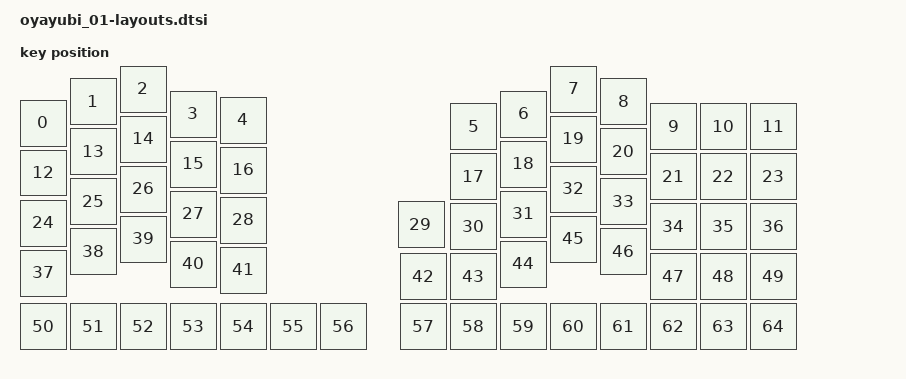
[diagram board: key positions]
// ZMK Studio / DYA Studio 用物理レイアウト定義
//
// 座標換算の根拠:
//   単位: centi-keyunit (ZMK標準)。100 = 1キーユニット = キー1個分の大きさ。
//   ★ mm をそのまま 100 倍してはいけない。キーピッチが 1 単位になるよう割る。
//   スケール: X は 18mm = 100 cku (PCB_X[mm] ÷ 18 × 100)
//             Y は 17mm = 100 cku (PCB_Y[mm] ÷ 17 × 100)
//     → Choc の 18×17mm ピッチがちょうど隙間なく敷き詰まる
//     → キーサイズは w=100 h=100 (正方形表示。実物は 18×17mm だが
//        Studio は配列エディタなので 6% の縦横比差は無視して問題ない)
//   x,y はキャップ左上角。列は 100 刻み、行は 100 刻み、
//   カラムスタガーは 17mm を 100 とした比率で表現される。
//
// 座標元データ: docs/左手_配置座標表.md / docs/右手_配置座標表.md (実測値)
//   左手 Col0-6 → x = 0,100,...,600
//   右手 Col0-7 → x = 761,861,...,1461 (エンコーダ SW39 のみ 756 = 1mm 左)
//
// 検証: 65キー、重なり 0、全体サイズ 15.6u × 5.75u
//
// 配列順: default_transform の map と同じ順 (行ごとに左→右)

#include <physical_layouts.dtsi>

/ {
    default_layout: default_layout {
        compatible = "zmk,physical-layout";
        display-name = "oyayubi_01";
        transform = <&default_transform>;
        kscan = <&kscan>;

        keys  //                     w     h      x      y   rot   rx   ry
            // ── Row0: 左 Col0-4 + 右 Col1-7 (12 keys) ──────────────────────
            // 左
            = <&key_physical_attrs  100  100     0    68     0    0    0>  // L R0C0  SW1  !
            , <&key_physical_attrs  100  100   100    25     0    0    0>  // L R0C1  SW6  @
            , <&key_physical_attrs  100  100   200     0     0    0    0>  // L R0C2  SW11 #  ← 最上キー
            , <&key_physical_attrs  100  100   300    50     0    0    0>  // L R0C3  SW16 $
            , <&key_physical_attrs  100  100   400    62     0    0    0>  // L R0C4  SW21 %
            // 右 (Col1-7, Col0 は Row0 に存在しない)
            , <&key_physical_attrs  100  100   861    75     0    0    0>  // R R0C1  SW3
            , <&key_physical_attrs  100  100   961    50     0    0    0>  // R R0C2  SW8
            , <&key_physical_attrs  100  100  1061     0     0    0    0>  // R R0C3  SW13 ← 最上キー
            , <&key_physical_attrs  100  100  1161    25     0    0    0>  // R R0C4  SW18
            , <&key_physical_attrs  100  100  1261    75     0    0    0>  // R R0C5  SW23
            , <&key_physical_attrs  100  100  1361    75     0    0    0>  // R R0C6  SW28
            , <&key_physical_attrs  100  100  1461    75     0    0    0>  // R R0C7  SW33

            // ── Row1: 左 Col0-4 + 右 Col1-7 (12 keys) ──────────────────────
            // 左
            , <&key_physical_attrs  100  100     0   168     0    0    0>  // L R1C0  SW2  Q
            , <&key_physical_attrs  100  100   100   125     0    0    0>  // L R1C1  SW7  W
            , <&key_physical_attrs  100  100   200   100     0    0    0>  // L R1C2  SW12 E
            , <&key_physical_attrs  100  100   300   150     0    0    0>  // L R1C3  SW17 R
            , <&key_physical_attrs  100  100   400   162     0    0    0>  // L R1C4  SW22 T
            // 右
            , <&key_physical_attrs  100  100   861   175     0    0    0>  // R R1C1  SW4  Y
            , <&key_physical_attrs  100  100   961   150     0    0    0>  // R R1C2  SW9  U
            , <&key_physical_attrs  100  100  1061   100     0    0    0>  // R R1C3  SW14 I
            , <&key_physical_attrs  100  100  1161   125     0    0    0>  // R R1C4  SW19 O
            , <&key_physical_attrs  100  100  1261   175     0    0    0>  // R R1C5  SW24 P
            , <&key_physical_attrs  100  100  1361   175     0    0    0>  // R R1C6  SW29
            , <&key_physical_attrs  100  100  1461   175     0    0    0>  // R R1C7  SW34

            // ── Row2: 左 Col0-4 + 右 Col0-7 (13 keys) ──────────────────────
            // 左
            , <&key_physical_attrs  100  100     0   268     0    0    0>  // L R2C0  SW3  A
            , <&key_physical_attrs  100  100   100   225     0    0    0>  // L R2C1  SW8  S
            , <&key_physical_attrs  100  100   200   200     0    0    0>  // L R2C2  SW13 D
            , <&key_physical_attrs  100  100   300   250     0    0    0>  // L R2C3  SW18 F
            , <&key_physical_attrs  100  100   400   262     0    0    0>  // L R2C4  SW23 G
            // 右 Col0 = エンコーダプッシュ SW39 (PCB X=-1mm)
            , <&key_physical_attrs  100  100   756   271     0    0    0>  // R R2C0  SW39 ENC_PUSH
            , <&key_physical_attrs  100  100   861   275     0    0    0>  // R R2C1  SW5  H
            , <&key_physical_attrs  100  100   961   250     0    0    0>  // R R2C2  SW10 J
            , <&key_physical_attrs  100  100  1061   200     0    0    0>  // R R2C3  SW15 K
            , <&key_physical_attrs  100  100  1161   225     0    0    0>  // R R2C4  SW20 L
            , <&key_physical_attrs  100  100  1261   275     0    0    0>  // R R2C5  SW25 ;
            , <&key_physical_attrs  100  100  1361   275     0    0    0>  // R R2C6  SW30 '
            , <&key_physical_attrs  100  100  1461   275     0    0    0>  // R R2C7  SW35 \

            // ── Row3: 左 Col0-4 + 右 Col0-7 (13 keys) ──────────────────────
            // 左
            , <&key_physical_attrs  100  100     0   368     0    0    0>  // L R3C0  SW4  Z
            , <&key_physical_attrs  100  100   100   325     0    0    0>  // L R3C1  SW9  X
            , <&key_physical_attrs  100  100   200   300     0    0    0>  // L R3C2  SW14 C
            , <&key_physical_attrs  100  100   300   350     0    0    0>  // L R3C3  SW19 V
            , <&key_physical_attrs  100  100   400   362     0    0    0>  // L R3C4  SW24 B
            // 右
            , <&key_physical_attrs  100  100   761   375     0    0    0>  // R R3C0  SW1
            , <&key_physical_attrs  100  100   861   375     0    0    0>  // R R3C1  SW6  N
            , <&key_physical_attrs  100  100   961   350     0    0    0>  // R R3C2  SW11 M
            , <&key_physical_attrs  100  100  1061   300     0    0    0>  // R R3C3  SW16 ,
            , <&key_physical_attrs  100  100  1161   325     0    0    0>  // R R3C4  SW21 .
            , <&key_physical_attrs  100  100  1261   375     0    0    0>  // R R3C5  SW26 /
            , <&key_physical_attrs  100  100  1361   375     0    0    0>  // R R3C6  SW31
            , <&key_physical_attrs  100  100  1461   375     0    0    0>  // R R3C7  SW36

            // ── Row4: 左 Col0-6 + 右 Col0-7 (15 keys) ──────────────────────
            // 左 (フラット行, Y=80.75 全列共通)
            , <&key_physical_attrs  100  100     0   475     0    0    0>  // L R4C0  SW5  Shift
            , <&key_physical_attrs  100  100   100   475     0    0    0>  // L R4C1  SW10 Ctrl
            , <&key_physical_attrs  100  100   200   475     0    0    0>  // L R4C2  SW15 Alt
            , <&key_physical_attrs  100  100   300   475     0    0    0>  // L R4C3  SW20 GUI
            , <&key_physical_attrs  100  100   400   475     0    0    0>  // L R4C4  SW25 RAlt
            , <&key_physical_attrs  100  100   500   475     0    0    0>  // L R4C5  SW26 Space
            , <&key_physical_attrs  100  100   600   475     0    0    0>  // L R4C6  SW27 (studio_unlock)
            // 右 (フラット行)
            , <&key_physical_attrs  100  100   761   475     0    0    0>  // R R4C0  SW2
            , <&key_physical_attrs  100  100   861   475     0    0    0>  // R R4C1  SW7
            , <&key_physical_attrs  100  100   961   475     0    0    0>  // R R4C2  SW12
            , <&key_physical_attrs  100  100  1061   475     0    0    0>  // R R4C3  SW17
            , <&key_physical_attrs  100  100  1161   475     0    0    0>  // R R4C4  SW22
            , <&key_physical_attrs  100  100  1261   475     0    0    0>  // R R4C5  SW27
            , <&key_physical_attrs  100  100  1361   475     0    0    0>  // R R4C6  SW32
            , <&key_physical_attrs  100  100  1461   475     0    0    0>  // R R4C7  SW37
            ;
    };
};
